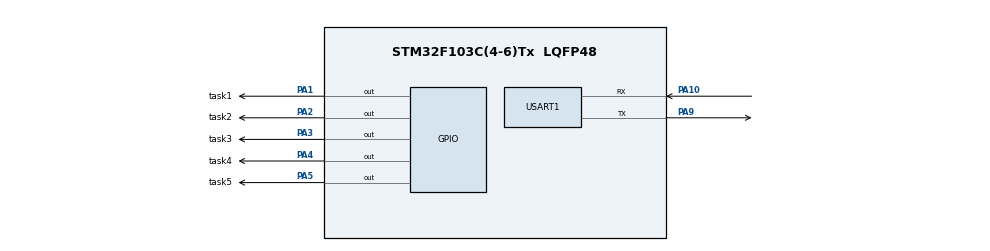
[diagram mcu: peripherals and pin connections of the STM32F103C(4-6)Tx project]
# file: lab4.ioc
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Mcu.Family=STM32F1
Mcu.Name=STM32F103C(4-6)Tx
Mcu.Package=LQFP48
NVIC.PriorityGroup=NVIC_PRIORITYGROUP_4
NVIC.TIM2_IRQn=true\:0\:0\:false\:false\:true\:true\:true
PA1.GPIO_Label=task1
PA1.Signal=GPIO_Output
PA10.Mode=Asynchronous
PA10.Signal=USART1_RX
PA2.GPIO_Label=task2
PA2.Signal=GPIO_Output
PA3.GPIO_Label=task3
PA3.Signal=GPIO_Output
PA4.GPIO_Label=task4
PA4.Signal=GPIO_Output
PA5.GPIO_Label=task5
PA5.Signal=GPIO_Output
PA9.Mode=Asynchronous
PA9.Signal=USART1_TX
PD0-OSC_IN.Mode=HSE-External-Oscillator
PD0-OSC_IN.Signal=RCC_OSC_IN
PD1-OSC_OUT.Mode=HSE-External-Oscillator
PD1-OSC_OUT.Signal=RCC_OSC_OUT
ProjectManager.HeapSize=0x200
ProjectManager.StackSize=0x400
ProjectManager.TargetToolchain=STM32CubeIDE
RCC.APB1Freq_Value=8000000
RCC.APB2Freq_Value=8000000
TIM2.Period=10
TIM2.Prescaler=7999
USART1.VirtualMode=VM_ASYNC
VP_SYS_VS_ND.Mode=No_Debug
VP_TIM2_VS_ClockSourceINT.Mode=Internal
board=custom

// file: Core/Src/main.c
/* USER CODE BEGIN Header */
/**
  ******************************************************************************
  * @file           : main.c
  * @brief          : Main program body
  ******************************************************************************
  * @attention
  *
  * <h2><center>&copy; Copyright (c) 2021 STMicroelectronics.
  * All rights reserved.</center></h2>
  *
  * This software component is licensed by ST under BSD 3-Clause license,
  * the "License"; You may not use this file except in compliance with the
  * License. You may obtain a copy of the License at:
  *                        opensource.org/licenses/BSD-3-Clause
  *
  ******************************************************************************
  */
/* USER CODE END Header */
#include "main.h"

/* USER CODE BEGIN Includes */
#include "sched_timer.h"
#include "sched_main.h"
#include "sched_task.h"
/* USER CODE END Includes */

TIM_HandleTypeDef htim2;

UART_HandleTypeDef huart1;

void SystemClock_Config(void);
static void MX_GPIO_Init(void);
static void MX_TIM2_Init(void);
static void MX_USART1_UART_Init(void);

int main(void)
{

  /* MCU Configuration--------------------------------------------------------*/

  /* Reset of all peripherals, Initializes the Flash interface and the Systick. */
  HAL_Init();

  /* Configure the system clock */
  SystemClock_Config();

  /* Initialize all configured peripherals */
  MX_GPIO_Init();
  MX_TIM2_Init();
  MX_USART1_UART_Init();
  /* USER CODE BEGIN 2 */
  SCH_Init();
  SCH_Add_Task(&task1, 1, 100);
  SCH_Add_Task(&task2, 3, 200);
  SCH_Add_Task(&task3, 5, 100);
  SCH_Add_Task(&task4, 2, 500);
  SCH_Add_Task(&task5, 6, 250);
  HAL_TIM_Base_Start_IT(&htim2);
  /* USER CODE END 2 */

  /* Infinite loop */
  while (1)
  {

    /* USER CODE BEGIN 3 */
	  SCH_Dispatch_Tasks();
  }
  /* USER CODE END 3 */
}

void SystemClock_Config(void)
{
  RCC_OscInitTypeDef RCC_OscInitStruct = {0};
  RCC_ClkInitTypeDef RCC_ClkInitStruct = {0};

  /** Initializes the RCC Oscillators according to the specified parameters
  * in the RCC_OscInitTypeDef structure.
  */
  RCC_OscInitStruct.OscillatorType = RCC_OSCILLATORTYPE_HSI;
  RCC_OscInitStruct.HSIState = RCC_HSI_ON;
  RCC_OscInitStruct.HSICalibrationValue = RCC_HSICALIBRATION_DEFAULT;
  RCC_OscInitStruct.PLL.PLLState = RCC_PLL_NONE;
  if (HAL_RCC_OscConfig(&RCC_OscInitStruct) != HAL_OK)
  {
    Error_Handler();
  }
  /** Initializes the CPU, AHB and APB buses clocks
  */
  RCC_ClkInitStruct.ClockType = RCC_CLOCKTYPE_HCLK|RCC_CLOCKTYPE_SYSCLK
                              |RCC_CLOCKTYPE_PCLK1|RCC_CLOCKTYPE_PCLK2;
  RCC_ClkInitStruct.SYSCLKSource = RCC_SYSCLKSOURCE_HSI;
  RCC_ClkInitStruct.AHBCLKDivider = RCC_SYSCLK_DIV1;
  RCC_ClkInitStruct.APB1CLKDivider = RCC_HCLK_DIV1;
  RCC_ClkInitStruct.APB2CLKDivider = RCC_HCLK_DIV1;

  if (HAL_RCC_ClockConfig(&RCC_ClkInitStruct, FLASH_LATENCY_0) != HAL_OK)
  {
    Error_Handler();
  }
}

static void MX_TIM2_Init(void)
{

  TIM_ClockConfigTypeDef sClockSourceConfig = {0};
  TIM_MasterConfigTypeDef sMasterConfig = {0};

  htim2.Instance = TIM2;
  htim2.Init.Prescaler = 7999;
  htim2.Init.CounterMode = TIM_COUNTERMODE_UP;
  htim2.Init.Period = 10;
  htim2.Init.ClockDivision = TIM_CLOCKDIVISION_DIV1;
  htim2.Init.AutoReloadPreload = TIM_AUTORELOAD_PRELOAD_DISABLE;
  if (HAL_TIM_Base_Init(&htim2) != HAL_OK)
  {
    Error_Handler();
  }
  sClockSourceConfig.ClockSource = TIM_CLOCKSOURCE_INTERNAL;
  if (HAL_TIM_ConfigClockSource(&htim2, &sClockSourceConfig) != HAL_OK)
  {
    Error_Handler();
  }
  sMasterConfig.MasterOutputTrigger = TIM_TRGO_RESET;
  sMasterConfig.MasterSlaveMode = TIM_MASTERSLAVEMODE_DISABLE;
  if (HAL_TIMEx_MasterConfigSynchronization(&htim2, &sMasterConfig) != HAL_OK)
  {
    Error_Handler();
  }

}

static void MX_USART1_UART_Init(void)
{

  huart1.Instance = USART1;
  huart1.Init.BaudRate = 115200;
  huart1.Init.WordLength = UART_WORDLENGTH_8B;
  huart1.Init.StopBits = UART_STOPBITS_1;
  huart1.Init.Parity = UART_PARITY_NONE;
  huart1.Init.Mode = UART_MODE_TX_RX;
  huart1.Init.HwFlowCtl = UART_HWCONTROL_NONE;
  huart1.Init.OverSampling = UART_OVERSAMPLING_16;
  if (HAL_UART_Init(&huart1) != HAL_OK)
  {
    Error_Handler();
  }

}

static void MX_GPIO_Init(void)
{
  GPIO_InitTypeDef GPIO_InitStruct = {0};

  /* GPIO Ports Clock Enable */
  __HAL_RCC_GPIOD_CLK_ENABLE();
  __HAL_RCC_GPIOA_CLK_ENABLE();

  /*Configure GPIO pin Output Level */
  HAL_GPIO_WritePin(GPIOA, task1_Pin|task2_Pin|task3_Pin|task4_Pin
                          |task5_Pin, GPIO_PIN_RESET);

  /*Configure GPIO pins : task1_Pin task2_Pin task3_Pin task4_Pin
                           task5_Pin */
  GPIO_InitStruct.Pin = task1_Pin|task2_Pin|task3_Pin|task4_Pin
                          |task5_Pin;
  GPIO_InitStruct.Mode = GPIO_MODE_OUTPUT_PP;
  GPIO_InitStruct.Pull = GPIO_NOPULL;
  GPIO_InitStruct.Speed = GPIO_SPEED_FREQ_LOW;
  HAL_GPIO_Init(GPIOA, &GPIO_InitStruct);

}

/* USER CODE BEGIN 4 */
void HAL_TIM_PeriodElapsedCallback(TIM_HandleTypeDef *htim) {
	if(htim->Instance == TIM2){
		SCH_Update();
	}
}
void HAL_UART_RxCpltCallback(UART_HandleTypeDef *huart) {
	if(huart->Instance == USART1) {

	}
}
/* USER CODE END 4 */

void Error_Handler(void)
{
  __disable_irq();
  while (1)
  {
  }
}

/************************ (C) COPYRIGHT STMicroelectronics *****END OF FILE****/
